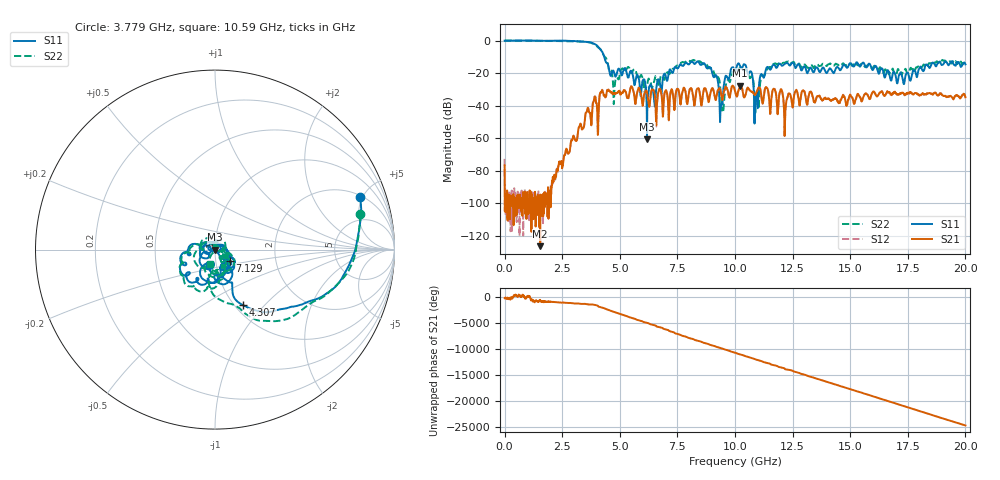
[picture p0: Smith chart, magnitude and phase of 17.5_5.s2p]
#  HZ  S  RI  R  50.00
! Rohde & Schwarz Vector Network Analyzer
! Rohde-Schwarz,ZNB20-2Port,1311601062102128,3.60
! Created: UTC 4/29/2024, 2:58:53 PM
! freq[Hz]  re:S11  im:S11  re:S21  im:S21  re:S12  im:S12  re:S22  im:S22
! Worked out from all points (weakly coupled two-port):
!   2007 points, 100 kHz to 20 GHz, reference 50 ohm
!   highest |S21| = -27.66 dB at 10.23 GHz (marker M1); lowest = -126.6 dB at 1.545 GHz (marker M2)
!   lowest |S11| = -60.8 dB at 6.182 GHz (marker M3), VSWR 1.00, Z = 50.1 - j0.0753 ohm
!   |S11| at or under -10 dB: 4.326 GHz to end of sweep
!   |S22| runs from -44.7 to 0.1 dB; largest |S21 - S12| = 0.0021
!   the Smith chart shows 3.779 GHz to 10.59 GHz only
!   S11 on the Smith chart (normalised r, x): 3.779 GHz: 2.08, +4.77; 4.307 GHz: 1.09, -0.76; 7.129 GHz: 1.17, -0.15; 10.59 GHz: 0.92, -0.16
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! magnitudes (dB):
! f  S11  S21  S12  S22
! 100 kHz  0.0  -76.8  -72.8  0.1
! 1.545 GHz  -0.1  -126.6  -100.2  -0.1
! 2.243 GHz  0.0  -80.9  -81.5  -0.3
! 3.34 GHz  -0.6  -53.9  -53.6  -0.6
! 3.779 GHz  -1.3  -49.9  -50.2  -1.6
! 4.307 GHz  -9.2  -33.8  -34.0  -9.2
! 4.776 GHz  -20.7  -32.4  -32.4  -28.9
! 5.354 GHz  -22.8  -35.3  -35.2  -16.4
! 6.182 GHz  -60.8  -31.9  -32.0  -27.4
! 6.67 GHz  -23.8  -31.9  -32.0  -27.2
! 7.129 GHz  -19.7  -48.9  -49.2  -20.6
! 8.654 GHz  -13.9  -29.7  -29.7  -14.3
! 9.192 GHz  -21.6  -34.7  -34.6  -22.5
! 9.402 GHz  -40.1  -33.4  -33.3  -36.4
! 10 GHz  -18.7  -31.1  -31.1  -19.3
! 10.23 GHz  -15.8  -27.7  -27.6  -16.8
! 10.59 GHz  -20.6  -29.6  -29.6  -21.6
! 10.92 GHz  -33.6  -32.6  -32.5  -34.5
! 11.42 GHz  -16.2  -29.9  -29.9  -16.8
! 13.34 GHz  -18.0  -32.7  -32.8  -15.3
! 16.67 GHz  -19.1  -31.8  -31.8  -20.5
! 20 GHz  -14.6  -34.9  -34.9  -14.4
